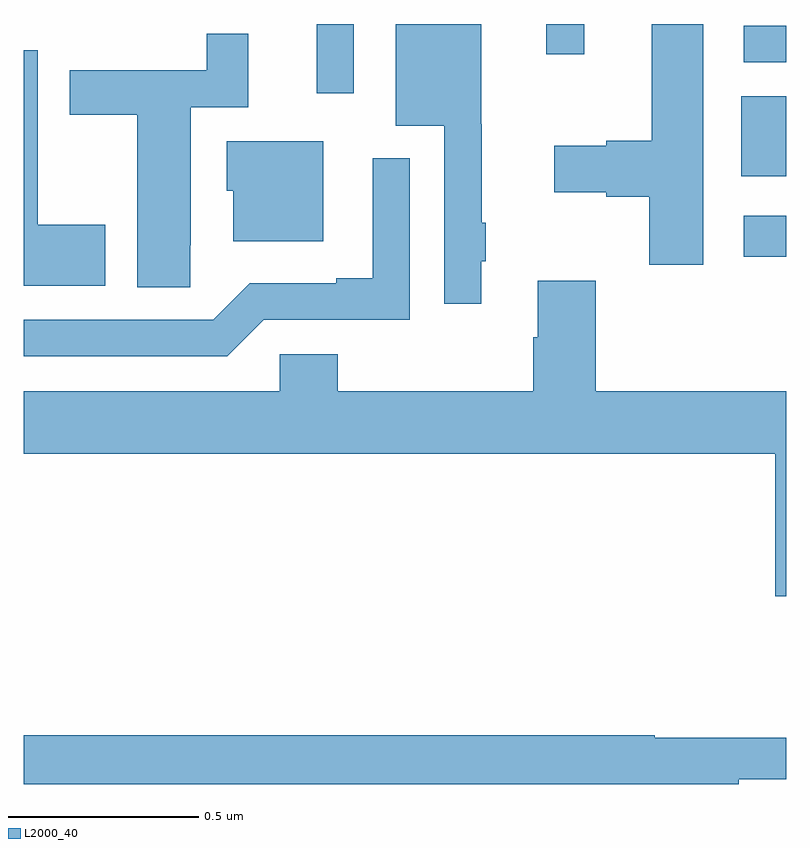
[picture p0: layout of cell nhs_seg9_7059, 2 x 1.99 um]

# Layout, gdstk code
import gdstk
lib = gdstk.Library(unit=1e-6, precision=1e-09)
def R(c, l, rs):  # rectangles x0, y0, x1, y1
    for r in rs: c.add(gdstk.rectangle(r[:2], r[2:], *l))
def P(c, l, *ps):  # polygons
    for p in ps: c.add(gdstk.Polygon(p, *l))
L2000_40 = (2000, 40)

nhs_seg9_7059 = lib.new_cell('nhs_seg9_7059')
R(nhs_seg9_7059, L2000_40, [(200.889,1244.889,201,1244.997), (200.882,1245.101,201,1245.31), (199.769,1245.318,199.866,1245.5), (200.889,1245.399,201,1245.495), (200.371,1245.42,200.47,1245.5)])
P(nhs_seg9_7059, L2000_40, [(200.2,1244.878),(200.212,1244.878),(200.212,1244.978),(200.201,1244.978),(200.201,1245.237),(200.2,1245.237),(200.2,1245.5),(199.976,1245.5),(199.976,1245.233),(200.103,1245.233),(200.103,1244.766),(200.2,1244.766)],
  [(200.782,1245.5),(200.648,1245.5),(200.648,1245.194),(200.528,1245.194),(200.528,1245.181),(200.391,1245.181),(200.391,1245.059),(200.528,1245.059),(200.528,1245.047),(200.641,1245.047),(200.641,1244.868),(200.782,1244.868)],
  [(199.437,1244.92),(199.438,1244.92),(199.438,1245.282),(199.589,1245.282),(199.589,1245.475),(199.48,1245.475),(199.48,1245.378),(199.121,1245.378),(199.121,1245.262),(199.298,1245.262),(199.298,1244.809),(199.437,1244.809)],
  [(199.213,1244.973),(199.036,1244.973),(199.036,1245.431),(199,1245.431),(199,1244.813),(199.213,1244.813)],
  [(199.786,1245.193),(199.532,1245.193),(199.532,1245.063),(199.55,1245.063),(199.55,1244.93),(199.786,1244.93)],
  [(199.629,1244.724),(200.013,1244.724),(200.013,1245.148),(199.916,1245.148),(199.916,1244.833),(199.82,1244.833),(199.82,1244.82),(199.593,1244.82),(199.497,1244.724),(199,1244.724),(199,1244.628),(199.533,1244.628)],
  [(201,1244.536),(200.501,1244.536),(200.501,1244.827),(200.348,1244.827),(200.348,1244.678),(200.336,1244.678),(200.336,1244.536),(199.823,1244.536),(199.823,1244.634),(199.671,1244.634),(199.671,1244.536),(199,1244.536),(199,1244.372),(200.972,1244.372),(200.972,1243.998),(201,1243.998)],
  [(200.876,1243.518),(201,1243.518),(201,1243.627),(200.655,1243.627),(200.655,1243.634),(199,1243.634),(199,1243.506),(200.876,1243.506)])

lib.write_gds('nhs_seg9_7059.gds')
